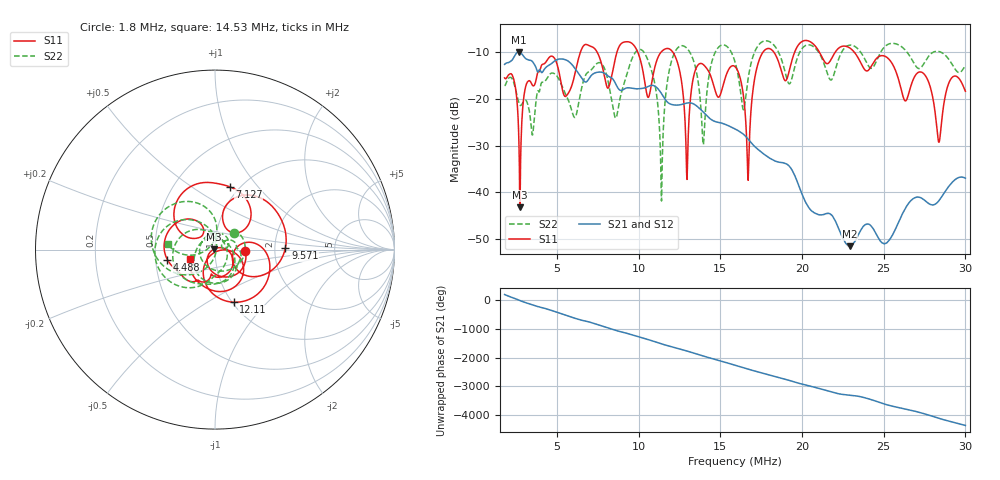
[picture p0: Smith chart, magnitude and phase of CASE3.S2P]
!Agilent Technologies,E5061B,MY49101568,A.02.00
!Date: Wed Mar 01 14:56:53 2023
!Data & Calibration Information:
!Freq	S11:SOLT2(OFF)	S21:SOLT2(OFF)	S12:SOLT2(OFF)	S22:SOLT2(OFF)
# Hz S dB R 50
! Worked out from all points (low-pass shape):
!   1155 points, 1.8 MHz to 30 MHz, reference 50 ohm
!   highest |S21| = -10.01 dB at 2.655 MHz (marker M1); lowest = -51.5 dB at 22.91 MHz (marker M2)
!   |S21| within 3 dB of the highest: start of sweep to 3.675 MHz; 4.439 MHz to 5.991 MHz (1.553 MHz wide, 29.8 % of centre)
!   lowest |S11| = -43.2 dB at 2.729 MHz (marker M3), VSWR 1.01, Z = 49.3 + j0.226 ohm
!   |S11| at or under -10 dB: start of sweep to 6.447 MHz; 12.08 MHz to 17.63 MHz (5.544 MHz wide, 37.3 % of centre); 23.18 MHz to end of sweep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
!   |S22| runs from -41.9 to -7.6 dB; largest |S21 - S12| = 0.0039
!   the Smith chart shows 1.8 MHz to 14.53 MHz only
!   S11 on the Smith chart (normalised r, x): 1.8 MHz: 1.40, -0.02; 4.488 MHz: 0.58, -0.07; 7.127 MHz: 0.90, +0.72; 9.571 MHz: 2.29, +0.04; 12.11 MHz: 1.01, -0.66; 14.53 MHz: 0.75, -0.08
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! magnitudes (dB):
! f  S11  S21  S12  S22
! 1.8 MHz  -15.6  -12.7  -12.6  -17.2
! 2.655 MHz  -26.8  -10.0  -10.0  -20.7
! 2.729 MHz  -43.2  -10.0  -10.0  -21.3
! 4.488 MHz  -11.3  -12.9  -12.9  -15.1
! 6.516 MHz  -9.4  -15.6  -15.5  -17.7
! 7.127 MHz  -8.9  -15.0  -14.8  -13.7
! 8.593 MHz  -11.1  -16.8  -16.7  -24.1
! 9.571 MHz  -8.1  -17.8  -17.7  -11.7
! 11.21 MHz  -11.0  -18.0  -18.0  -22.6
! 11.43 MHz  -9.9  -19.1  -19.1  -37.0
! 12.11 MHz  -10.1  -21.3  -21.4  -10.9
! 12.94 MHz  -36.4  -20.9  -21.0  -9.2
! 13.95 MHz  -12.7  -22.8  -22.8  -29.7
! 14.53 MHz  -16.4  -24.6  -24.7  -11.5
! 15.9 MHz  -13.2  -26.5  -26.5  -12.1
! 16.71 MHz  -37.4  -28.6  -28.7  -15.6
! 17.56 MHz  -10.3  -31.5  -31.7  -7.9
! 20.62 MHz  -8.1  -44.0  -44.0  -8.7
! 22.91 MHz  -9.1  -51.5  -51.4  -8.6
! 25.31 MHz  -11.5  -50.4  -50.2  -8.3
! 28.36 MHz  -29.3  -41.9  -41.8  -9.9
! 30 MHz  -18.4  -37.0  -36.9  -12.9
